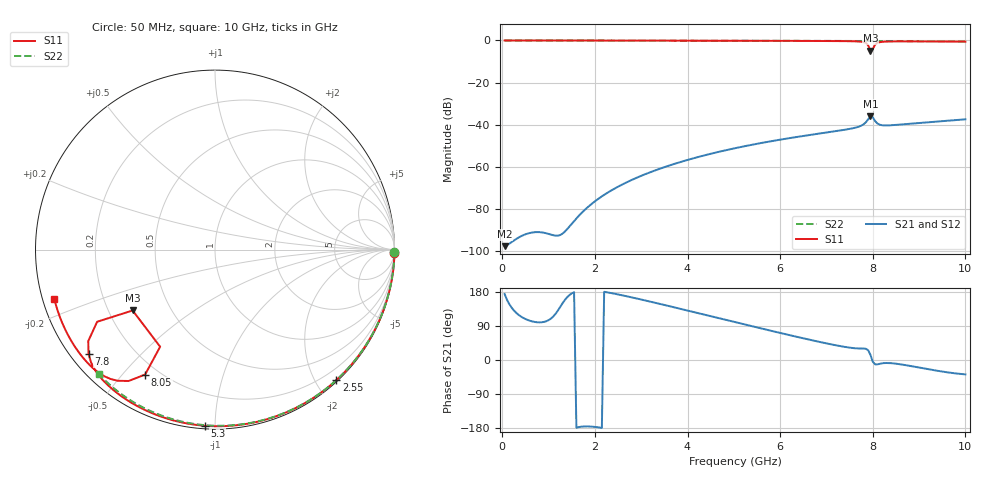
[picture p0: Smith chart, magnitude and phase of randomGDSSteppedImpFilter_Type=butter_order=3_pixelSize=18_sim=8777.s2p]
! freq	dB(S11)	phase(S11)	dB(S12)	phase(S12)
!  dB(S21)	phase(S21)	dB(S22)	phase(S22)
!S-par simulation data
#  GHz  S  DB  R 50
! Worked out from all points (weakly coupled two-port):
!   200 points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, 50 MHz to 10 GHz, reference 50 ohm
!   highest |S21| = -36.07 dB at 7.95 GHz (marker M1); lowest = -97.8 dB at 50 MHz (marker M2)
!   lowest |S11| = -4.9 dB at 7.95 GHz (marker M3), VSWR 3.66, Z = 15 - j15.1 ohm
!   |S11| at or under -10 dB: nowhere
!   |S22| runs from -0.5 to 0.0 dB; largest |S21 - S12| = 0
!   S11 on the Smith chart (normalised r, x): 50 MHz: open; 2.55 GHz: 0.02, -2.30; 5.3 GHz: 0.02, -0.94; 7.8 GHz: 0.05, -0.36; 8.05 GHz: 0.15, -0.58; 10 GHz: 0.03, -0.15
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0.05  -0.00 -0.9  -97.80 174.1  -97.80 174.1  -0.00 -0.8
0.85  -0.02 -16.0  -91.24 99.6  -91.24 99.6  -0.01 -13.0
1.75  -0.04 -32.6  -81.18 -175.5  -81.18 -175.5  -0.03 -26.5
1.8  -0.04 -33.6  -80.15 -175.2  -80.15 -175.2  -0.03 -27.3
2.15  -0.05 -39.9  -74.12 -179.0  -74.12 -179.0  -0.04 -32.4
2.55  -0.06 -47.1  -68.94 171.8  -68.94 171.8  -0.05 -38.3
3.4  -0.08 -61.9  -61.00 148.1  -61.00 148.1  -0.07 -50.5
4.15  -0.10 -74.6  -55.88 126.1  -55.88 126.1  -0.09 -60.9
5.05  -0.14 -89.4  -51.11 99.3  -51.11 99.3  -0.11 -73.0
5.3  -0.15 -93.4  -49.98 91.9  -49.98 91.9  -0.12 -76.3
6.7  -0.23 -115.7  -44.74 51.8  -44.74 51.8  -0.18 -94.1
7.5  -0.36 -130.1  -42.05 32.6  -42.05 32.6  -0.23 -103.8
7.7  -0.50 -135.7  -40.97 30.4  -40.97 30.4  -0.24 -106.2
7.8  -0.79 -140.5  -39.89 30.3  -39.89 30.3  -0.25 -107.4
7.9  -2.27 -148.5  -37.51 26.0  -37.51 26.0  -0.26 -108.6
7.95  -4.87 -143.5  -36.07 13.5  -36.07 13.5  -0.26 -109.2
8  -4.13 -119.5  -36.57 -4.4  -36.57 -4.4  -0.26 -109.8
8.05  -1.96 -119.2  -38.30 -11.6  -38.30 -11.6  -0.27 -110.4
8.15  -0.82 -126.6  -40.05 -10.0  -40.05 -10.0  -0.27 -111.6
8.35  -0.49 -134.0  -40.37 -8.1  -40.37 -8.1  -0.29 -113.9
9  -0.45 -146.6  -39.20 -19.9  -39.20 -19.9  -0.35 -121.5
10  -0.57 -163.0  -37.50 -38.0  -37.50 -38.0  -0.46 -132.9
